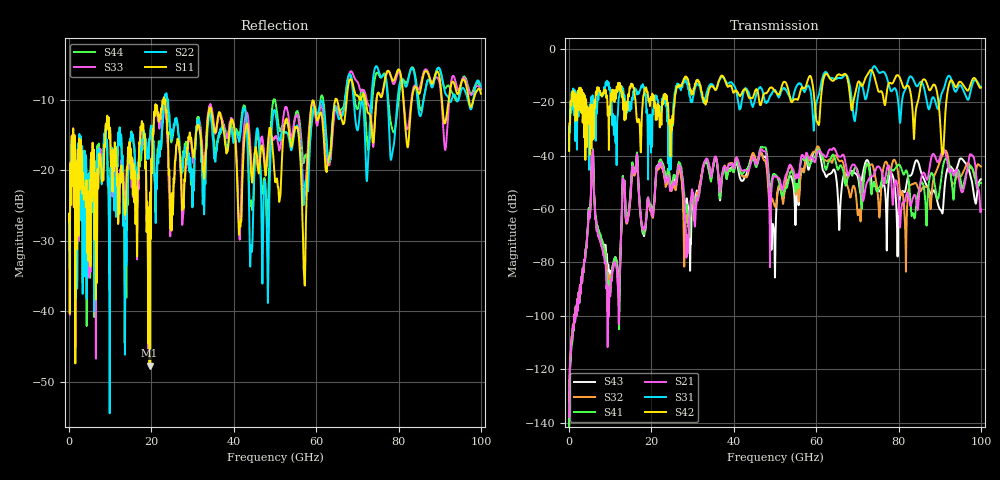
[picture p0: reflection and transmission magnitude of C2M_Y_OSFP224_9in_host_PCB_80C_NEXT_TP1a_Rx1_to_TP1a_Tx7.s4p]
# GHz S RI R 45
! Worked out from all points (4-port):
!   4000 points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, 25 MHz to 100 GHz, reference 45 ohm
!   strongest paths, dB at 25 MHz, 25.02 GHz, 50.02 GHz, 75.03 GHz, 100 GHz:
!     S42: -38.3, -28.8, -16.0, -15.6, -14.6
!     S31: -37.9, -28.1, -15.4, -8.5, -14.2
!     S21: -137.9, -51.4, -47.8, -44.1, -60.2
!     S41: -142.7, -49.8, -47.2, -52.7, -50.3
!     S32: -136.8, -52.2, -59.0, -55.6, -44.1
!     S43: -141.0, -50.7, -84.6, -52.5, -48.9
!   lowest |S11| = -47.7 dB at 19.55 GHz (marker M1), VSWR 1.01, Z = 45.3 + j0.228 ohm
!   |S11| at or under -10 dB: start of sweep to 22.94 GHz; 23.36 GHz to 64.64 GHz (41.28 GHz wide, 93.8 % of centre); 71.98 GHz to 74.66 GHz (2.675 GHz wide, 3.65 % of centre) (the widest 3 of 9)
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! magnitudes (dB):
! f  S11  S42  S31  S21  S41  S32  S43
! 25 MHz  -27.2  -38.3  -37.9  -137.9  -142.7  -136.8  -141.0
! 5.725 GHz  -16.1  -31.4  -17.4  -40.2  -40.0  -40.0  -39.8
! 9.5 GHz  -13.5  -22.4  -13.1  -91.3  -87.6  -84.3  -80.8
! 16.12 GHz  -26.9  -19.2  -15.9  -45.8  -44.8  -46.5  -45.5
! 19.55 GHz  -47.7  -20.0  -32.9  -58.1  -57.3  -59.0  -58.3
! 64.08 GHz  -12.5  -12.0  -11.2  -37.4  -39.6  -41.7  -45.5
! 100 GHz  -9.1  -14.6  -14.2  -60.2  -50.3  -44.1  -48.9
